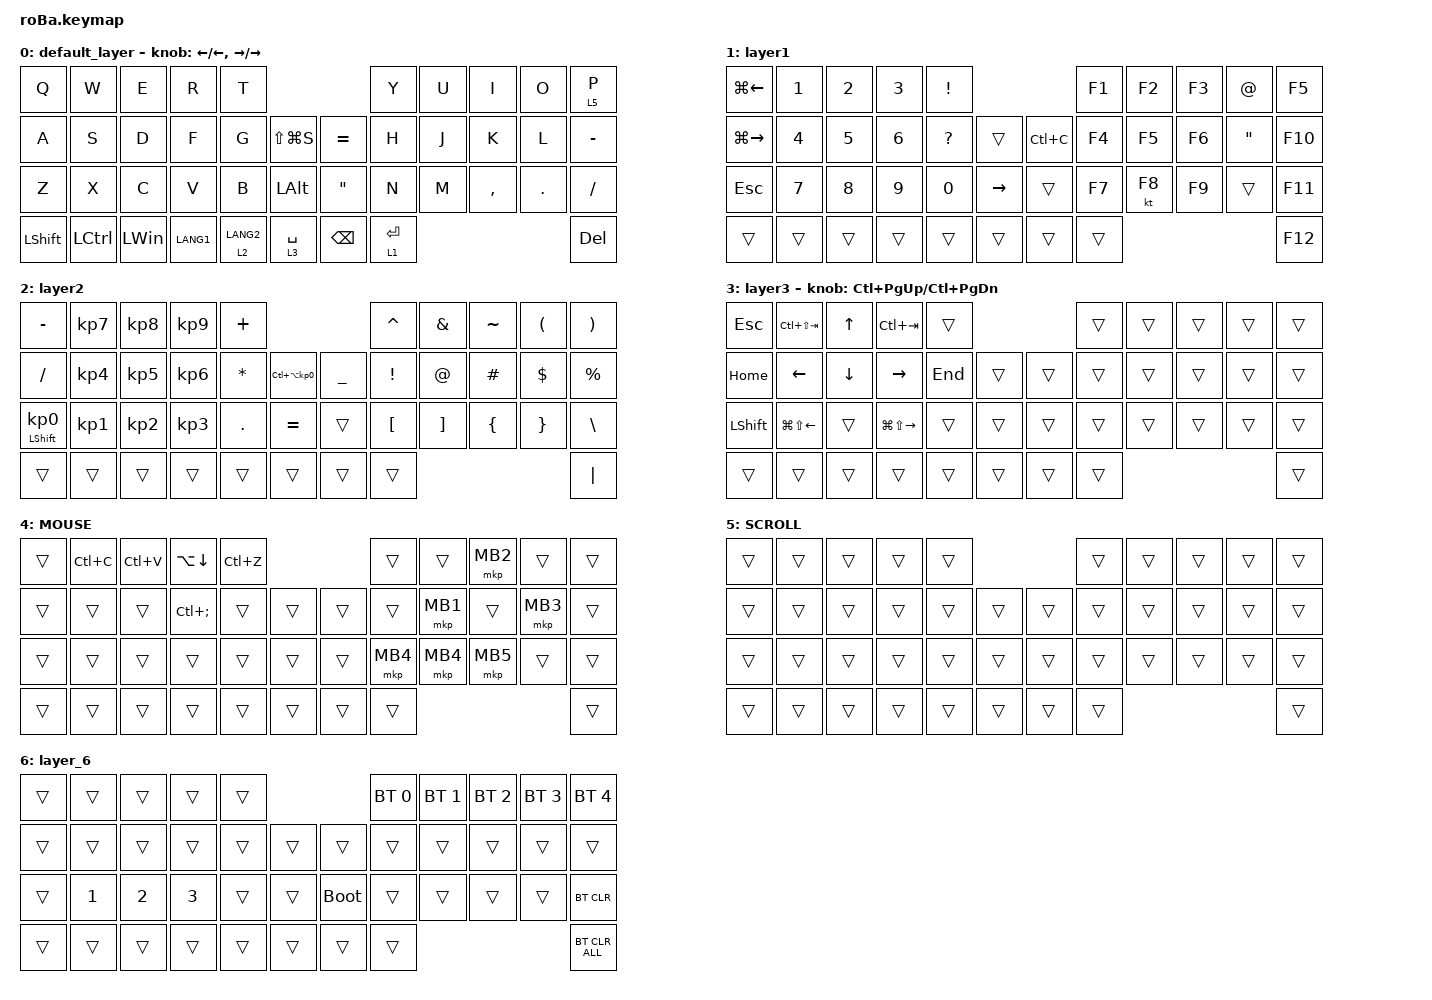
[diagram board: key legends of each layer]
#include <behaviors.dtsi>
#include <dt-bindings/zmk/bt.h>
#include <dt-bindings/zmk/keys.h>
#include <dt-bindings/zmk/pointing.h>

&mt {
    flavor = "balanced";
    quick-tap-ms = <0>;
};

&trackball {
    automouse-layer = <4>;
    scroll-layers = <5>;

    // arrows {
    //     layers = <3>;
    //     bindings =
    //         <&kp RIGHT_ARROW>,
    //         <&kp LEFT_ARROW>,
    //         <&kp UP_ARROW>,
    //         <&kp DOWN_ARROW>;
    //     tick = <10>;
    //     wait-ms = <5>;
    //     tap-ms = <5>;
    // };
};

/ {
    combos {
        compatible = "zmk,combos";

        tab {
            bindings = <&kp TAB>;
            key-positions = <11 12>;
        };

        shift_tab {
            bindings = <&kp LS(TAB)>;
            key-positions = <12 13>;
        };

        muhennkann {
            bindings = <&to_layer_0 INT_MUHENKAN>;
            key-positions = <11 10>;
        };

        double_quotation {
            bindings = <&kp DOUBLE_QUOTES>;
            key-positions = <20 21>;
        };

        eq {
            bindings = <&kp EQUAL>;
            key-positions = <24 25>;
        };
    };

    macros {
        to_layer_0: to_layer_0 {
            compatible = "zmk,behavior-macro-one-param";
            #binding-cells = <1>;
            bindings = <&to 0 &macro_param_1to1 &kp MACRO_PLACEHOLDER>;
            label = "TO_LAYER_0";
        };

        copy: copy {
            compatible = "zmk,behavior-macro";
            #binding-cells = <0>;
            bindings = <&macro_press>, <&kp LCTRL &kp C>, <&macro_release>;

            label = "COPY";
        };

        paste: paste {
            compatible = "zmk,behavior-macro";
            #binding-cells = <0>;
            bindings = <&macro_press>, <&kp LCTRL &kp V>, <&macro_release>;

            label = "PASTE";
        };

        altdown: altdown {
            compatible = "zmk,behavior-macro";
            #binding-cells = <0>;
            bindings =
                <&macro_press>,
                <&kp LEFT_ALT &kp DOWN>,
                <&macro_release>;

            label = "ALTDOWN";
        };

        ctrlz: ctrlz {
            compatible = "zmk,behavior-macro";
            #binding-cells = <0>;
            bindings = <&none>;
            label = "CTRLZ";
        };
    };

    behaviors {
        lt_to_layer_0: lt_to_layer_0 {
            compatible = "zmk,behavior-hold-tap";
            label = "LAYER_TAP_TO_0";
            bindings = <&mo>, <&to_layer_0>;

            #binding-cells = <2>;
            tapping-term-ms = <200>;
        };
    };

    keymap {
        compatible = "zmk,keymap";

        default_layer {
            bindings = <
&kp Q           &kp W             &kp E     &kp R      &kp T                                              &kp Y        &kp U  &kp I      &kp O    &lt 5 P
&kp A           &kp S             &kp D     &kp F      &kp G        &kp LS(LG(S))      &kp EQUAL          &kp H        &kp J  &kp K      &kp L    &kp MINUS
&kp Z           &kp X             &kp C     &kp V      &kp B        &kp LALT           &kp DOUBLE_QUOTES  &kp N        &kp M  &kp COMMA  &kp DOT  &kp SLASH
&kp LEFT_SHIFT  &kp LEFT_CONTROL  &kp LWIN  &kp LANG1  &lt 2 LANG2  &lt 3 SPACE        &kp BACKSPACE      &lt 1 ENTER                             &kp DEL
            >;

            sensor-bindings =
                <&inc_dec_kp LEFT_ARROW LEFT_ARROW>,
                <&inc_dec_kp RIGHT_ARROW RIGHT_ARROW>;
        };

        layer1 {
            bindings = <
&kp LG(LEFT_ARROW)   &kp NUMBER_1  &kp NUMBER_2  &kp NUMBER_3  &kp EXCLAMATION                                  &kp F1  &kp F2  &kp F3  &kp AT_SIGN        &kp F5
&kp LG(RIGHT_ARROW)  &kp NUMBER_4  &kp NUMBER_5  &kp NUMBER_6  &kp QUESTION     &trans               &kp LC(C)  &kp F4  &kp F5  &kp F6  &kp DOUBLE_QUOTES  &kp F10
&kp ESC              &kp NUMBER_7  &kp NUMBER_8  &kp NUMBER_9  &kp NUMBER_0     &kp RIGHT_ARROW      &trans     &kp F7  &kt F8  &kp F9  &trans             &kp F11
&trans               &trans        &trans        &trans        &trans           &trans               &trans     &trans                                     &kp F12
            >;
        };

        layer2 {
            bindings = <
&kp MINUS                   &kp KP_NUMBER_7  &kp KP_NUMBER_8  &kp KP_NUMBER_9  &kp PLUS                                                   &kp CARET         &kp AMPERSAND      &kp TILDE       &kp LEFT_PARENTHESIS  &kp RIGHT_PARENTHESIS
&kp SLASH                   &kp KP_NUMBER_4  &kp KP_NUMBER_5  &kp KP_NUMBER_6  &kp ASTERISK  &kp LC(LA(KP_NUMBER_0))      &kp UNDERSCORE  &kp EXCLAMATION   &kp AT_SIGN        &kp HASH        &kp DOLLAR            &kp PERCENT
&mt LEFT_SHIFT KP_NUMBER_0  &kp KP_NUMBER_1  &kp KP_NUMBER_2  &kp KP_NUMBER_3  &kp PERIOD    &kp EQUAL                    &trans          &kp LEFT_BRACKET  &kp RIGHT_BRACKET  &kp LEFT_BRACE  &kp RIGHT_BRACE       &kp BACKSLASH
&trans                      &trans           &trans           &trans           &trans        &trans                       &trans          &trans                                                                     &kp PIPE
            >;
        };

        layer3 {
            bindings = <
&kp ESCAPE      &kp LC(LS(TAB))         &kp UP_ARROW    &kp LC(TAB)              &trans                       &trans  &trans  &trans  &trans  &trans
&kp HOME        &kp LEFT_ARROW          &kp DOWN_ARROW  &kp RIGHT_ARROW          &kp END  &trans      &trans  &trans  &trans  &trans  &trans  &trans
&kp LEFT_SHIFT  &kp LG(LS(LEFT_ARROW))  &trans          &kp LG(LS(RIGHT_ARROW))  &trans   &trans      &trans  &trans  &trans  &trans  &trans  &trans
&trans          &trans                  &trans          &trans                   &trans   &trans      &trans  &trans                          &trans
            >;

            sensor-bindings = <&inc_dec_kp LC(PAGE_UP) LC(PAGE_DOWN)>;
        };

        MOUSE {
            bindings = <
&trans  &kp LC(C)  &kp LC(V)  &kp LA(DOWN_ARROW)  &kp LC(Z)                      &trans    &trans    &mkp MB2  &trans    &trans
&trans  &trans     &trans     &kp LC(SEMICOLON)   &trans     &trans      &trans  &trans    &mkp MB1  &trans    &mkp MB3  &trans
&trans  &trans     &trans     &trans              &trans     &trans      &trans  &mkp MB4  &mkp MB4  &mkp MB5  &trans    &trans
&trans  &trans     &trans     &trans              &trans     &trans      &trans  &trans                                  &trans
            >;
        };

        SCROLL {
            bindings = <
&trans  &trans  &trans  &trans  &trans                      &trans  &trans  &trans  &trans  &trans
&trans  &trans  &trans  &trans  &trans  &trans      &trans  &trans  &trans  &trans  &trans  &trans
&trans  &trans  &trans  &trans  &trans  &trans      &trans  &trans  &trans  &trans  &trans  &trans
&trans  &trans  &trans  &trans  &trans  &trans      &trans  &trans                          &trans
            >;
        };

        layer_6 {
            bindings = <
&trans  &trans        &trans        &trans        &trans                           &bt BT_SEL 0  &bt BT_SEL 1  &bt BT_SEL 2  &bt BT_SEL 3  &bt BT_SEL 4
&trans  &trans        &trans        &trans        &trans  &trans      &trans       &trans        &trans        &trans        &trans        &trans
&trans  &kp NUMBER_1  &kp NUMBER_2  &kp NUMBER_3  &trans  &trans      &bootloader  &trans        &trans        &trans        &trans        &bt BT_CLR
&trans  &trans        &trans        &trans        &trans  &trans      &trans       &trans                                                  &bt BT_CLR_ALL
            >;
        };
    };
};
